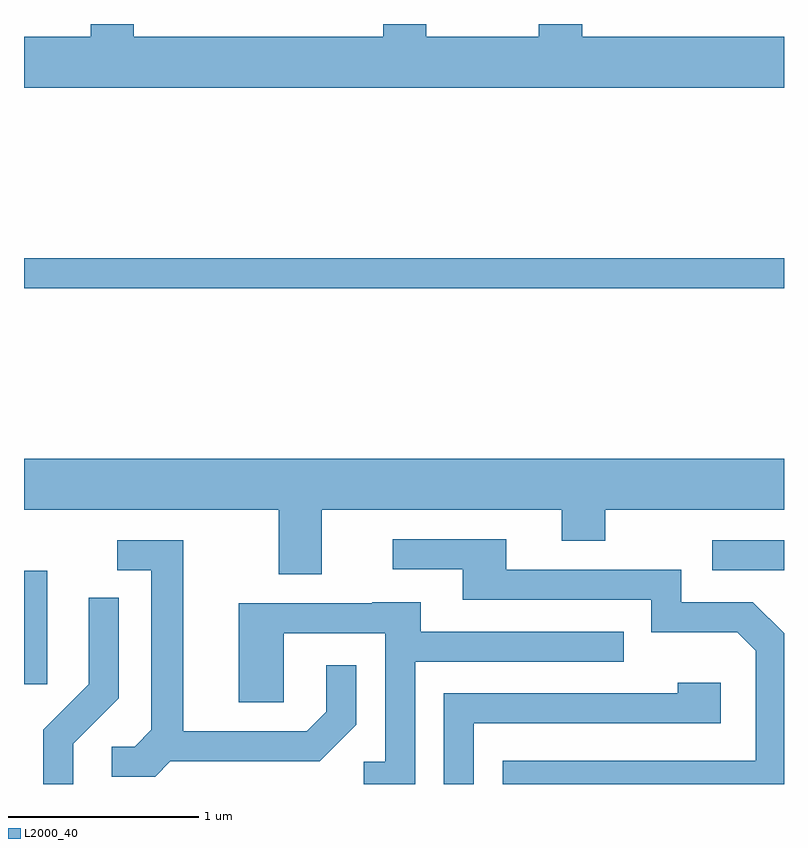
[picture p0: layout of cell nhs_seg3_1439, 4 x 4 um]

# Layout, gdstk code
import gdstk
lib = gdstk.Library(unit=1e-6, precision=1e-09)
def R(c, l, rs):  # rectangles x0, y0, x1, y1
    for r in rs: c.add(gdstk.rectangle(r[:2], r[2:], *l))
def P(c, l, *ps):  # polygons
    for p in ps: c.add(gdstk.Polygon(p, *l))
L2000_40 = (2000, 40)

nhs_seg3_1439 = lib.new_cell('nhs_seg3_1439')
R(nhs_seg3_1439, L2000_40, [(227.611,1138.416,227.734,1139.014), (231.233,1139.016,231.611,1139.174), (227.611,1140.501,231.611,1140.659)])
P(nhs_seg3_1439, L2000_40, [(231.611,1141.824),(230.549,1141.824),(230.549,1141.892),(230.321,1141.892),(230.321,1141.824),(229.729,1141.824),(229.729,1141.892),(229.501,1141.892),(229.501,1141.824),(228.189,1141.824),(228.189,1141.892),(227.961,1141.892),(227.961,1141.824),(227.611,1141.824),(227.611,1141.556),(231.611,1141.556)],
  [(229.179,1139.336),(230.441,1139.336),(230.441,1139.171),(230.669,1139.171),(230.669,1139.336),(231.611,1139.336),(231.611,1139.604),(227.611,1139.604),(227.611,1139.336),(228.951,1139.336),(228.951,1138.996),(229.179,1138.996)],
  [(231.611,1138.685),(231.447,1138.849),(231.069,1138.849),(231.069,1139.019),(230.149,1139.019),(230.149,1139.179),(229.553,1139.179),(229.553,1139.021),(229.921,1139.021),(229.921,1138.861),(230.911,1138.861),(230.911,1138.691),(231.364,1138.691),(231.461,1138.594),(231.461,1138.014),(230.131,1138.014),(230.131,1137.892),(231.611,1137.892)],
  [(228.382,1138.011),(229.167,1138.011),(229.359,1138.204),(229.359,1138.518),(229.201,1138.518),(229.201,1138.272),(229.099,1138.169),(228.449,1138.169),(228.449,1139.174),(228.103,1139.174),(228.103,1139.016),(228.281,1139.016),(228.281,1138.177),(228.194,1138.089),(228.073,1138.089),(228.073,1137.931),(228.302,1137.931)],
  [(227.869,1138.104),(228.109,1138.344),(228.109,1138.873),(227.951,1138.873),(227.951,1138.417),(227.711,1138.177),(227.711,1137.892),(227.869,1137.892)],
  [(229.669,1138.536),(230.768,1138.536),(230.768,1138.694),(229.699,1138.694),(229.699,1138.849),(229.445,1138.849),(229.445,1138.844),(228.741,1138.844),(228.741,1138.321),(228.979,1138.321),(228.979,1138.686),(229.511,1138.686),(229.511,1138.009),(229.398,1138.009),(229.398,1137.892),(229.669,1137.892)],
  [(229.979,1138.211),(231.279,1138.211),(231.279,1138.424),(231.051,1138.424),(231.051,1138.369),(229.821,1138.369),(229.821,1137.892),(229.979,1137.892)])

lib.write_gds('nhs_seg3_1439.gds')
